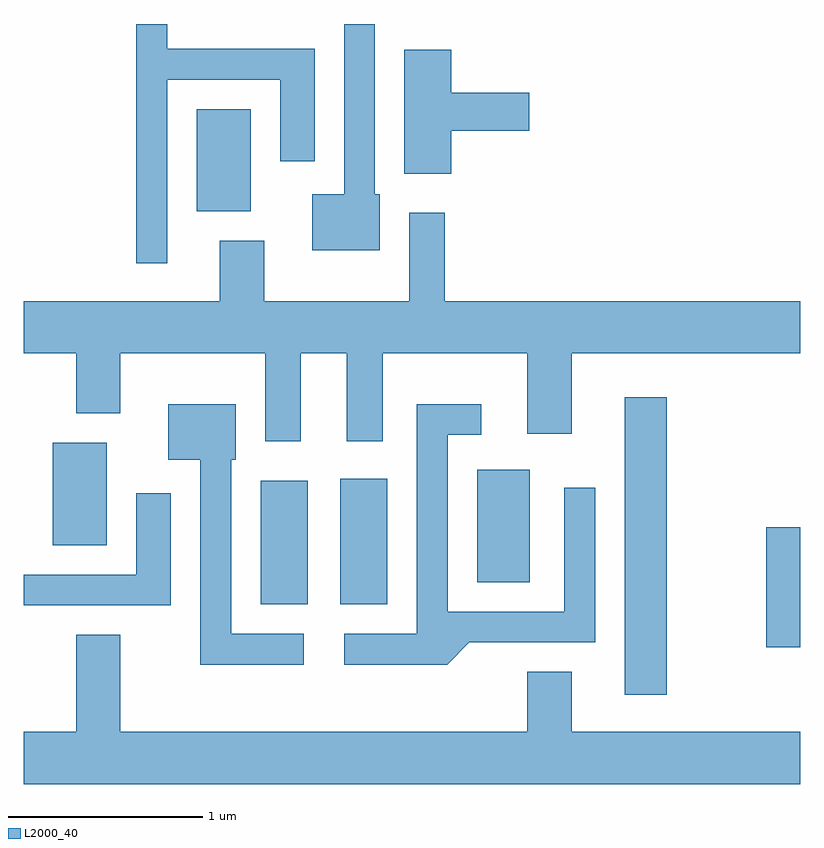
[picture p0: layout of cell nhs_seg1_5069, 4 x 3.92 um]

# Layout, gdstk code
import gdstk
lib = gdstk.Library(unit=1e-6, precision=1e-09)
def R(c, l, rs):  # rectangles x0, y0, x1, y1
    for r in rs: c.add(gdstk.rectangle(r[:2], r[2:], *l))
def P(c, l, *ps):  # polygons
    for p in ps: c.add(gdstk.Polygon(p, *l))
L2000_40 = (2000, 40)

nhs_seg1_5069 = lib.new_cell('nhs_seg1_5069')
R(nhs_seg1_5069, L2000_40, [(340.706,902.256,340.924,903.789), (341.436,902.501,341.611,903.119), (338.831,902.721,339.074,903.359), (339.241,902.721,339.484,903.369), (339.946,902.836,340.219,903.414), (337.761,903.026,338.039,903.554), (338.501,904.746,338.779,905.274)])
P(nhs_seg1_5069, L2000_40, [(339.444,904.834),(339.419,904.834),(339.419,905.712),(339.261,905.712),(339.261,904.834),(339.096,904.834),(339.096,904.546),(339.444,904.546)],
  [(338.349,905.426),(338.931,905.426),(338.931,905.006),(339.109,905.006),(339.109,905.584),(338.349,905.584),(338.349,905.712),(338.191,905.712),(338.191,904.478),(338.349,904.478)],
  [(339.814,905.161),(340.214,905.161),(340.214,905.359),(339.814,905.359),(339.814,905.579),(339.571,905.579),(339.571,904.941),(339.814,904.941)],
  [(339.039,904.016),(339.276,904.016),(339.276,903.561),(339.459,903.561),(339.459,904.016),(340.206,904.016),(340.206,903.601),(340.434,903.601),(340.434,904.016),(341.611,904.016),(341.611,904.284),(339.779,904.284),(339.779,904.739),(339.596,904.739),(339.596,904.284),(338.849,904.284),(338.849,904.594),(338.621,904.594),(338.621,904.284),(337.611,904.284),(337.611,904.016),(337.881,904.016),(337.881,903.706),(338.109,903.706),(338.109,904.016),(338.856,904.016),(338.856,903.561),(339.039,903.561)],
  [(339.053,902.569),(338.679,902.569),(338.679,903.466),(338.704,903.466),(338.704,903.754),(338.356,903.754),(338.356,903.466),(338.521,903.466),(338.521,902.411),(339.053,902.411)],
  [(339.907,902.526),(340.554,902.526),(340.554,903.323),(340.396,903.323),(340.396,902.684),(339.794,902.684),(339.794,903.596),(339.968,903.596),(339.968,903.754),(339.636,903.754),(339.636,902.569),(339.263,902.569),(339.263,902.411),(339.792,902.411)],
  [(338.369,903.294),(338.191,903.294),(338.191,902.874),(337.611,902.874),(337.611,902.716),(338.369,902.716)],
  [(341.611,902.064),(340.434,902.064),(340.434,902.374),(340.206,902.374),(340.206,902.064),(338.109,902.064),(338.109,902.564),(337.881,902.564),(337.881,902.064),(337.611,902.064),(337.611,901.796),(341.611,901.796)])

lib.write_gds('nhs_seg1_5069.gds')
